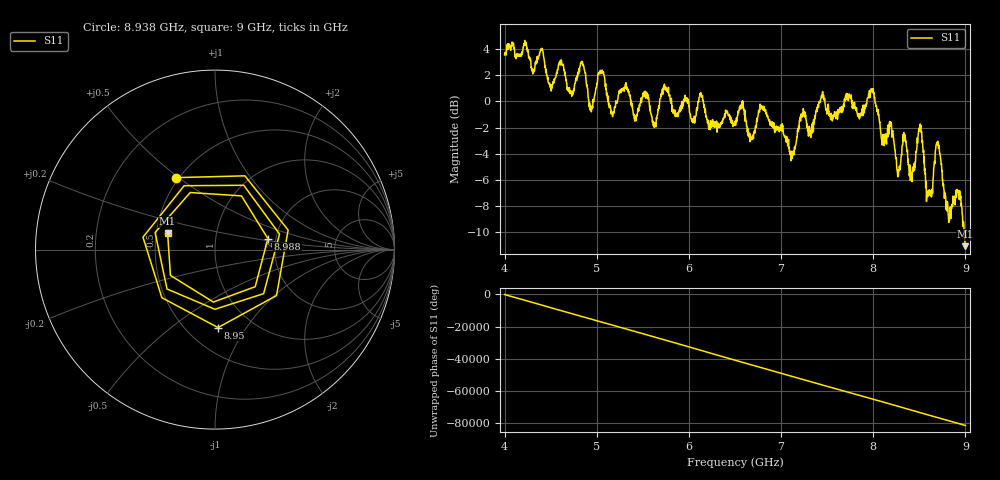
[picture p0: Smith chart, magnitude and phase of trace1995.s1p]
! Created with skrf 1.8.0 (http://scikit-rf.org).
# Hz S RI R 50.0
!freq ReS11 ImS11
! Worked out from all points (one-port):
!   1601 points, 4 GHz to 9 GHz, reference 50 ohm
!   lowest |S11| = -11.1 dB at 9 GHz (marker M1), VSWR 1.78, Z = 28.7 + j5.71 ohm
!   |S11| at or under -10 dB: 8.986076 GHz to end of sweep
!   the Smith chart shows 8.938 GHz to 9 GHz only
!   S11 on the Smith chart (normalised r, x): 8.938 GHz: 0.48, +0.49; 8.95 GHz: 0.70, -0.75; 8.988 GHz: 1.81, +0.25; 9 GHz: 0.57, +0.11
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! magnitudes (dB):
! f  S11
! 4 GHz  3.5
! 4.497 GHz  1.1
! 4.625 GHz  2.8
! 4.722 GHz  0.8
! 4.847 GHz  2.8
! 4.938 GHz  -0.4
! 5.038 GHz  2.4
! 5.162 GHz  -0.9
! 5.25 GHz  0.7
! 5.875 GHz  -1.1
! 6.5 GHz  -1.8
! 6.681 GHz  -2.7
! 6.797 GHz  -0.5
! 7.125 GHz  -4.1
! 7.234 GHz  -0.9
! 7.75 GHz  0.3
! 7.991 GHz  1.0
! 8.269 GHz  -5.2
! 8.375 GHz  -4.6
! 8.428 GHz  -5.0
! 8.509 GHz  -1.7
! 8.603 GHz  -6.8
! 8.7 GHz  -3.0
! 8.816 GHz  -8.8
! 8.938 GHz  -6.8
! 8.95 GHz  -7.2
! 8.988 GHz  -10.4
! 9 GHz  -11.1
